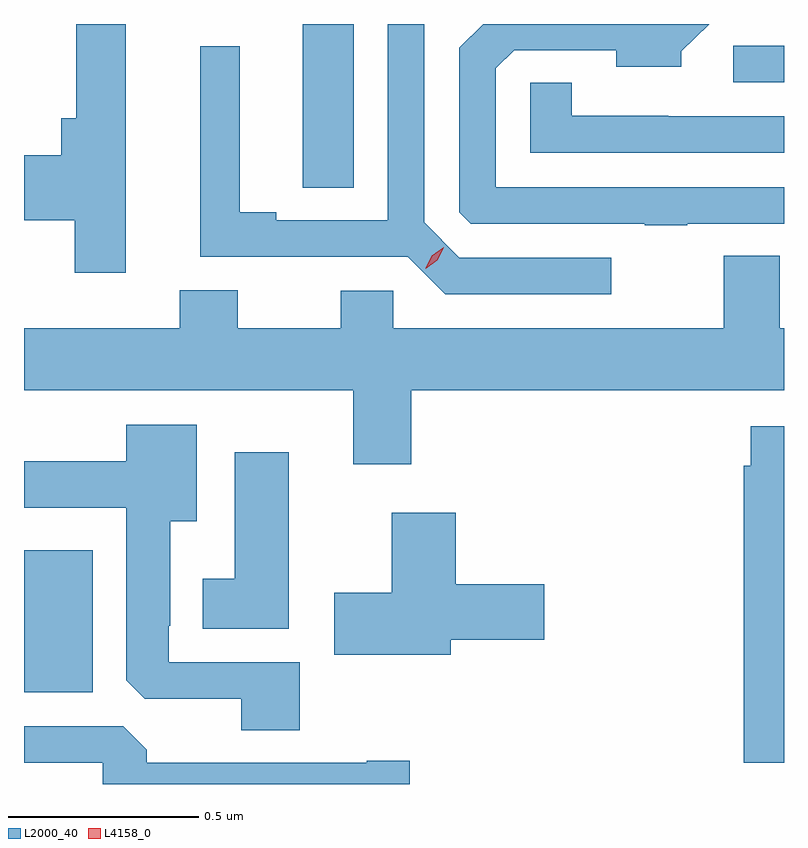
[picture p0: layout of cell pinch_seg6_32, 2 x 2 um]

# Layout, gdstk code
import gdstk
lib = gdstk.Library(unit=1e-6, precision=1e-09)
def R(c, l, rs):  # rectangles x0, y0, x1, y1
    for r in rs: c.add(gdstk.rectangle(r[:2], r[2:], *l))
def P(c, l, *ps):  # polygons
    for p in ps: c.add(gdstk.Polygon(p, *l))
L2000_40 = (2000, 40)
L4158_0 = (4158, 0)

pinch_seg6_32 = lib.new_cell('pinch_seg6_32')
R(pinch_seg6_32, L2000_40, [(971.112,977.177,971.293,977.551), (971.846,978.505,971.98,978.936), (972.978,978.783,973.112,978.879)])
P(pinch_seg6_32, L2000_40, [(971.38,978.936),(971.249,978.936),(971.249,978.688),(971.21,978.688),(971.21,978.59),(971.112,978.59),(971.112,978.419),(971.246,978.419),(971.246,978.282),(971.38,978.282)],
  [(972.658,978.321),(972.258,978.321),(972.165,978.414),(972.165,978.936),(972.069,978.936),(972.069,978.42),(971.776,978.42),(971.776,978.44),(971.68,978.44),(971.68,978.877),(971.576,978.877),(971.576,978.324),(972.122,978.324),(972.221,978.225),(972.658,978.225)],
  [(972.857,978.411),(973.112,978.411),(973.112,978.507),(972.354,978.507),(972.354,978.819),(972.402,978.867),(972.671,978.867),(972.671,978.824),(972.842,978.824),(972.842,978.864),(972.915,978.936),(972.321,978.936),(972.258,978.873),(972.258,978.441),(972.288,978.411),(972.745,978.411),(972.745,978.406),(972.857,978.406)],
  [(973.112,978.693),(972.807,978.693),(972.807,978.694),(972.553,978.694),(972.553,978.782),(972.444,978.782),(972.444,978.597),(973.112,978.597)],
  [(972.131,977.972),(973.112,977.972),(973.112,978.136),(973.101,978.136),(973.101,978.326),(972.953,978.326),(972.953,978.136),(972.084,978.136),(972.084,978.234),(971.945,978.234),(971.945,978.136),(971.674,978.136),(971.674,978.235),(971.522,978.235),(971.522,978.136),(971.112,978.136),(971.112,977.972),(971.978,977.972),(971.978,977.778),(972.131,977.778)],
  [(971.837,977.256),(971.493,977.256),(971.493,977.353),(971.497,977.353),(971.497,977.627),(971.566,977.627),(971.566,977.881),(971.381,977.881),(971.381,977.785),(971.112,977.785),(971.112,977.663),(971.381,977.663),(971.381,977.209),(971.43,977.16),(971.684,977.16),(971.684,977.077),(971.837,977.077)],
  [(973.112,977.878),(973.025,977.878),(973.025,977.774),(973.006,977.774),(973.006,976.992),(973.112,976.992)],
  [(971.809,977.809),(971.666,977.809),(971.666,977.476),(971.582,977.476),(971.582,977.345),(971.809,977.345)],
  [(972.235,977.315),(972.481,977.315),(972.481,977.462),(972.248,977.462),(972.248,977.65),(972.08,977.65),(972.08,977.439),(971.928,977.439),(971.928,977.276),(972.235,977.276)],
  [(972.127,976.997),(972.014,976.997),(972.014,976.992),(971.435,976.992),(971.435,977.026),(971.373,977.088),(971.112,977.088),(971.112,976.992),(971.319,976.992),(971.319,976.936),(972.127,976.936)])
P(pinch_seg6_32, L4158_0, [(972.169,978.292),(972.169,978.293),(972.185,978.326),(972.216,978.348),(972.216,978.348),(972.216,978.347),(972.2,978.314),(972.169,978.292)])

lib.write_gds('pinch_seg6_32.gds')
